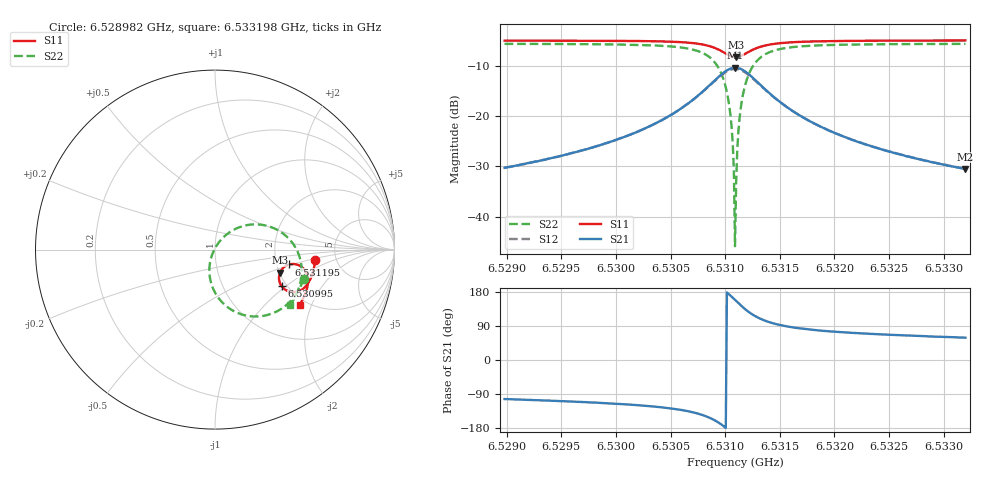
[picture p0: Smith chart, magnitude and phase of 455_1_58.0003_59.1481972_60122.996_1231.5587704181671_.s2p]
#  HZ  S  RI  R  50.00
! Rohde & Schwarz Vector Network Analyzer
! Rohde-Schwarz,ZNB20-2Port,1311601062101988,3.16
! Created: UTC 3/21/2024, 1:10:43 AM
! freq[Hz]  re:S11  im:S11  re:S21  im:S21  re:S12  im:S12  re:S22  im:S22
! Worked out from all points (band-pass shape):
!   401 points, 6.528982 GHz to 6.533198 GHz, reference 50 ohm
!   highest |S21| = -10.41 dB at 6.53109 GHz (marker M1); lowest = -30.6 dB at 6.533198 GHz (marker M2)
!   |S21| within 3 dB of the highest: 6.530881 GHz to 6.531302 GHz (421.1 kHz wide, 0.00645 % of centre)
!   lowest |S11| = -8.3 dB at 6.5311 GHz (marker M3), VSWR 2.25, Z = 101 - j30.3 ohm
!   |S11| at or under -10 dB: nowhere
!   |S22| runs from -45.9 to -5.7 dB; largest |S21 - S12| = 0.012
!   S11 on the Smith chart (normalised r, x): 6.528982 GHz: 3.44, -0.59; 6.530995 GHz: 1.88, -0.93; 6.531195 GHz: 2.35, -0.47; 6.533198 GHz: 1.82, -1.64
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6.5289819e9  0.5578 -0.059  -0.00684 -0.0297  -0.00754 -0.0296  0.4947 -0.1624
6.529688e9  0.5477 -0.1173  -0.0161 -0.0425  -0.0171 -0.0421  0.4645 -0.2278
6.5303942e9  0.5194 -0.1866  -0.0492 -0.0727  -0.0513 -0.0715  0.3845 -0.3194
6.5308158e9  0.4496 -0.2357  -0.1547 -0.0984  -0.1572 -0.0923  0.1814 -0.369
6.5309211e9  0.4057 -0.2307  -0.2231 -0.0729  -0.2226 -0.0637  0.0645 -0.3162
6.5309949e9  0.3714 -0.204  -0.2737 -0.0156  -0.2685 -0.00624  -0.013 -0.2116
6.5310265e9  0.361 -0.1843  -0.2874 0.0221  -0.2797 0.0306  -0.0296 -0.1465
6.5310476e9  0.3572 -0.1689  -0.2911 0.0506  -0.2819 0.0578  -0.0309 -0.0984
6.5310582e9  0.3564 -0.1606  -0.2907 0.0658  -0.2811 0.0719  -0.0281 -0.0738
6.5310687e9  0.3566 -0.1524  -0.2889 0.0807  -0.2787 0.0861  -0.0228 -0.0492
6.5310792e9  0.3577 -0.1441  -0.2856 0.0958  -0.2753 0.1003  -0.015 -0.0253
6.5310898e9  0.3597 -0.1359  -0.2809 0.1104  -0.2703 0.114  -0.00476 -0.00178
6.5311003e9  0.3624 -0.128  -0.2745 0.1246  -0.2641 0.1271  0.00766 0.0203
6.5311109e9  0.366 -0.1204  -0.267 0.1379  -0.2567 0.1395  0.0222 0.0412
6.5311214e9  0.3705 -0.1132  -0.2582 0.1505  -0.2481 0.1511  0.0387 0.0604
6.5311425e9  0.3812 -0.101  -0.2379 0.1722  -0.2284 0.1712  0.0756 0.0926
6.5311952e9  0.4139 -0.0829  -0.1783 0.2041  -0.1718 0.2011  0.179 0.1366
6.531269e9  0.4561 -0.0832  -0.1038 0.2064  -0.1005 0.2034  0.3049 0.1281
6.5313744e9  0.4929 -0.1057  -0.0397 0.176  -0.0381 0.1743  0.4101 0.0624
6.5317959e9  0.5179 -0.1852  0.0155 0.0848  0.0165 0.0846  0.4833 -0.1283
6.5325021e9  0.4982 -0.2567  0.0176 0.0406  0.0183 0.0403  0.4553 -0.2452
6.5331977e9  0.471 -0.3083  0.0153 0.0254  0.0158 0.0251  0.4206 -0.3066
